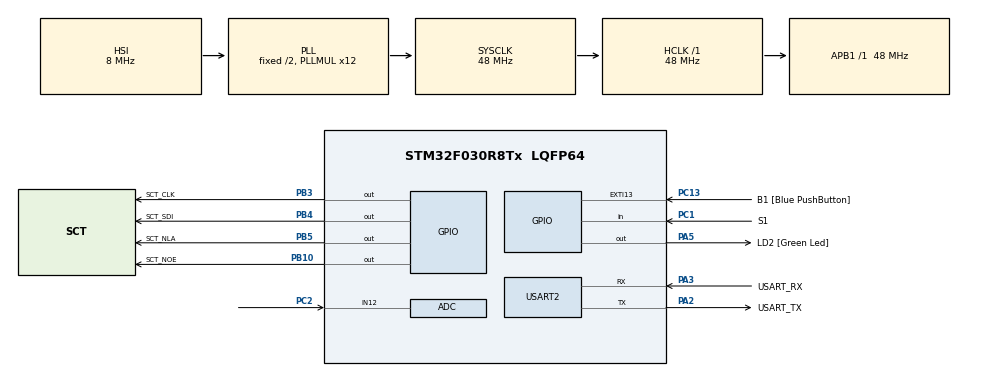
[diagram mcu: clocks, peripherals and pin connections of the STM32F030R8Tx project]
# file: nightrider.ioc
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ADC.ContinuousConvMode=DISABLE
Mcu.Family=STM32F0
Mcu.Name=STM32F030R8Tx
Mcu.Package=LQFP64
PA13.GPIO_Label=TMS
PA13.Mode=Serial_Wire
PA13.Signal=SYS_SWDIO
PA14.GPIO_Label=TCK
PA14.Mode=Serial_Wire
PA14.Signal=SYS_SWCLK
PA2.GPIO_Label=USART_TX
PA2.GPIO_Mode=GPIO_MODE_AF_PP
PA2.GPIO_PuPd=GPIO_NOPULL
PA2.GPIO_Speed=GPIO_SPEED_FREQ_LOW
PA2.Mode=Asynchronous
PA2.Signal=USART2_TX
PA3.GPIO_Label=USART_RX
PA3.GPIO_Mode=GPIO_MODE_AF_PP
PA3.GPIO_PuPd=GPIO_NOPULL
PA3.GPIO_Speed=GPIO_SPEED_FREQ_LOW
PA3.Mode=Asynchronous
PA3.Signal=USART2_RX
PA5.GPIO_Label=LD2 [Green Led]
PA5.GPIO_Mode=GPIO_MODE_OUTPUT_PP
PA5.GPIO_PuPd=GPIO_NOPULL
PA5.GPIO_Speed=GPIO_SPEED_FREQ_LOW
PA5.Signal=GPIO_Output
PB10.GPIO_Label=SCT_NOE
PB10.Signal=GPIO_Output
PB3.GPIO_Label=SCT_CLK
PB3.Signal=GPIO_Output
PB4.GPIO_Label=SCT_SDI
PB4.Signal=GPIO_Output
PB5.GPIO_Label=SCT_NLA
PB5.Signal=GPIO_Output
PC1.GPIO_Label=S1
PC1.GPIO_PuPd=GPIO_PULLUP
PC1.Signal=GPIO_Input
PC13.GPIO_Label=B1 [Blue PushButton]
PC13.GPIO_ModeDefaultEXTI=GPIO_MODE_IT_FALLING
PC13.Signal=GPXTI13
PC14-OSC32_IN.Mode=LSE-External-Oscillator
PC14-OSC32_IN.Signal=RCC_OSC32_IN
PC15-OSC32_OUT.Mode=LSE-External-Oscillator
PC15-OSC32_OUT.Signal=RCC_OSC32_OUT
PC2.Mode=IN12
PC2.Signal=ADC_IN12
PF0-OSC_IN.Mode=HSE-External-Clock-Source
PF0-OSC_IN.Signal=RCC_OSC_IN
PF1-OSC_OUT.Signal=RCC_OSC_OUT
ProjectManager.HeapSize=0x200
ProjectManager.StackSize=0x400
ProjectManager.TargetToolchain=STM32CubeIDE
RCC.AHBFreq_Value=48000000
RCC.APB1Freq_Value=48000000
RCC.APB1TimFreq_Value=48000000
RCC.HCLKFreq_Value=48000000
RCC.PLLMUL=RCC_PLL_MUL12
RCC.SYSCLKFreq_VALUE=48000000
RCC.SYSCLKSource=RCC_SYSCLKSOURCE_PLLCLK
USART2.VirtualMode-Asynchronous=VM_ASYNC
board=NUCLEO-F030R8

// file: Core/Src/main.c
/* USER CODE BEGIN Header */
/**
 ******************************************************************************
 * @file           : main.c
 * @brief          : Main program body
 ******************************************************************************
 * @attention
 *
 * Copyright (c) 2024 STMicroelectronics.
 * All rights reserved.
 *
 * This software is licensed under terms that can be found in the LICENSE file
 * in the root directory of this software component.
 * If no LICENSE file comes with this software, it is provided AS-IS.
 *
 ******************************************************************************
 */
/* USER CODE END Header */
#include "main.h"

/* USER CODE BEGIN Includes */
#include "sct.h"
#include <stdlib.h>
/* USER CODE END Includes */

/* USER CODE BEGIN PD */
#define delayXD 200
/* USER CODE END PD */

ADC_HandleTypeDef hadc;

UART_HandleTypeDef huart2;

void SystemClock_Config(void);
static void MX_GPIO_Init(void);
static void MX_USART2_UART_Init(void);
static void MX_ADC_Init(void);
/* USER CODE BEGIN PFP */
int rand_1_to_6(void){
	return((rand() % 6)+1);
}
int Roll_Dice(void){
	int dice1 = rand_1_to_6();
	int dice2 = rand_1_to_6();
	int dice3 = rand_1_to_6();

	return(dice1*100 + dice2 * 20 + dice3);
}
/* USER CODE END PFP */

int main(void)
{

	/* MCU Configuration--------------------------------------------------------*/

	/* Reset of all peripherals, Initializes the Flash interface and the Systick. */
	HAL_Init();

	/* Configure the system clock */
	SystemClock_Config();

	/* Initialize all configured peripherals */
	MX_GPIO_Init();
	MX_USART2_UART_Init();
	MX_ADC_Init();
	/* USER CODE BEGIN 2 */
	sct_init();
	sct_value(404, 4);
	HAL_ADCEx_Calibration_Start(&hadc);
	uint16_t adc_value;
	HAL_ADC_Start(&hadc);
	adc_value = HAL_ADC_GetValue(&hadc);
	srand(adc_value);

	/* USER CODE END 2 */

	/* Infinite loop */
	/* USER CODE BEGIN WHILE */
	while (1)
	{
		uint8_t buttPressed  = 0;
		uint16_t randNum;
		uint16_t delayVal = 20;
		while(buttPressed == 0){

			randNum = Roll_Dice();
			HAL_Delay(20);
			sct_value(randNum,0);
			if(HAL_GPIO_ReadPin(S1_GPIO_Port, S1_Pin)==0){
				buttPressed = 1;
			}
		}
		for (uint16_t i = 0;i < 20;i++){
			randNum = Roll_Dice();
			HAL_Delay(delayVal);
			delayVal +=20;
			sct_value(randNum,0);

		}
		sct_value(randNum,0);
		sct_uni_bar(255);
		HAL_Delay(200);
		sct_value(randNum,0);
		sct_uni_bar(0);
		HAL_Delay(200);
		sct_value(randNum,0);
		sct_uni_bar(255);
		HAL_Delay(200);
		sct_value(randNum,0);
		sct_uni_bar(0);
		HAL_Delay(200);
		sct_value(randNum,0);

		HAL_Delay(5000);
		//		uint8_t ledBinIndex = 0b11;
		//		for (uint8_t i = 1;i<=6;i++){
		//
		//			sct_uni_bar(ledBinIndex);
		//			HAL_Delay(delayXD);
		//			ledBinIndex <<= 1;
		//		}
		//		for (uint8_t i = 1;i<=6;i++){
		//
		//			sct_uni_bar(ledBinIndex);
		//			HAL_Delay(delayXD);
		//			ledBinIndex >>= 1;
		//		}

		//		sct_uni_bar(20);
		//		HAL_Delay(delayXD);
		//		sct_uni_bar(32);
		//		HAL_Delay(delayXD);

		/* USER CODE END WHILE */

	}
}

void SystemClock_Config(void)
{
	RCC_OscInitTypeDef RCC_OscInitStruct = {0};
	RCC_ClkInitTypeDef RCC_ClkInitStruct = {0};

	/** Initializes the RCC Oscillators according to the specified parameters
	 * in the RCC_OscInitTypeDef structure.
	 */
	RCC_OscInitStruct.OscillatorType = RCC_OSCILLATORTYPE_HSI|RCC_OSCILLATORTYPE_HSI14;
	RCC_OscInitStruct.HSIState = RCC_HSI_ON;
	RCC_OscInitStruct.HSI14State = RCC_HSI14_ON;
	RCC_OscInitStruct.HSICalibrationValue = RCC_HSICALIBRATION_DEFAULT;
	RCC_OscInitStruct.HSI14CalibrationValue = 16;
	RCC_OscInitStruct.PLL.PLLState = RCC_PLL_ON;
	RCC_OscInitStruct.PLL.PLLSource = RCC_PLLSOURCE_HSI;
	RCC_OscInitStruct.PLL.PLLMUL = RCC_PLL_MUL12;
	RCC_OscInitStruct.PLL.PREDIV = RCC_PREDIV_DIV1;
	if (HAL_RCC_OscConfig(&RCC_OscInitStruct) != HAL_OK)
	{
		Error_Handler();
	}

	/** Initializes the CPU, AHB and APB buses clocks
	 */
	RCC_ClkInitStruct.ClockType = RCC_CLOCKTYPE_HCLK|RCC_CLOCKTYPE_SYSCLK
			|RCC_CLOCKTYPE_PCLK1;
	RCC_ClkInitStruct.SYSCLKSource = RCC_SYSCLKSOURCE_PLLCLK;
	RCC_ClkInitStruct.AHBCLKDivider = RCC_SYSCLK_DIV1;
	RCC_ClkInitStruct.APB1CLKDivider = RCC_HCLK_DIV1;

	if (HAL_RCC_ClockConfig(&RCC_ClkInitStruct, FLASH_LATENCY_1) != HAL_OK)
	{
		Error_Handler();
	}
}

static void MX_ADC_Init(void)
{

	ADC_ChannelConfTypeDef sConfig = {0};

	/** Configure the global features of the ADC (Clock, Resolution, Data Alignment and number of conversion)
	 */
	hadc.Instance = ADC1;
	hadc.Init.ClockPrescaler = ADC_CLOCK_ASYNC_DIV1;
	hadc.Init.Resolution = ADC_RESOLUTION_12B;
	hadc.Init.DataAlign = ADC_DATAALIGN_RIGHT;
	hadc.Init.ScanConvMode = ADC_SCAN_DIRECTION_FORWARD;
	hadc.Init.EOCSelection = ADC_EOC_SINGLE_CONV;
	hadc.Init.LowPowerAutoWait = DISABLE;
	hadc.Init.LowPowerAutoPowerOff = DISABLE;
	hadc.Init.ContinuousConvMode = DISABLE;
	hadc.Init.DiscontinuousConvMode = DISABLE;
	hadc.Init.ExternalTrigConv = ADC_SOFTWARE_START;
	hadc.Init.ExternalTrigConvEdge = ADC_EXTERNALTRIGCONVEDGE_NONE;
	hadc.Init.DMAContinuousRequests = DISABLE;
	hadc.Init.Overrun = ADC_OVR_DATA_PRESERVED;
	if (HAL_ADC_Init(&hadc) != HAL_OK)
	{
		Error_Handler();
	}

	/** Configure for the selected ADC regular channel to be converted.
	 */
	sConfig.Channel = ADC_CHANNEL_12;
	sConfig.Rank = ADC_RANK_CHANNEL_NUMBER;
	sConfig.SamplingTime = ADC_SAMPLETIME_1CYCLE_5;
	if (HAL_ADC_ConfigChannel(&hadc, &sConfig) != HAL_OK)
	{
		Error_Handler();
	}

}

static void MX_USART2_UART_Init(void)
{

	huart2.Instance = USART2;
	huart2.Init.BaudRate = 38400;
	huart2.Init.WordLength = UART_WORDLENGTH_8B;
	huart2.Init.StopBits = UART_STOPBITS_1;
	huart2.Init.Parity = UART_PARITY_NONE;
	huart2.Init.Mode = UART_MODE_TX_RX;
	huart2.Init.HwFlowCtl = UART_HWCONTROL_NONE;
	huart2.Init.OverSampling = UART_OVERSAMPLING_16;
	huart2.Init.OneBitSampling = UART_ONE_BIT_SAMPLE_DISABLE;
	huart2.AdvancedInit.AdvFeatureInit = UART_ADVFEATURE_NO_INIT;
	if (HAL_UART_Init(&huart2) != HAL_OK)
	{
		Error_Handler();
	}

}

static void MX_GPIO_Init(void)
{
	GPIO_InitTypeDef GPIO_InitStruct = {0};

	/* GPIO Ports Clock Enable */
	__HAL_RCC_GPIOC_CLK_ENABLE();
	__HAL_RCC_GPIOF_CLK_ENABLE();
	__HAL_RCC_GPIOA_CLK_ENABLE();
	__HAL_RCC_GPIOB_CLK_ENABLE();

	/*Configure GPIO pin Output Level */
	HAL_GPIO_WritePin(LD2_GPIO_Port, LD2_Pin, GPIO_PIN_RESET);

	/*Configure GPIO pin Output Level */
	HAL_GPIO_WritePin(GPIOB, SCT_NOE_Pin|SCT_CLK_Pin|SCT_SDI_Pin|SCT_NLA_Pin, GPIO_PIN_RESET);

	/*Configure GPIO pin : B1_Pin */
	GPIO_InitStruct.Pin = B1_Pin;
	GPIO_InitStruct.Mode = GPIO_MODE_IT_FALLING;
	GPIO_InitStruct.Pull = GPIO_NOPULL;
	HAL_GPIO_Init(B1_GPIO_Port, &GPIO_InitStruct);

	/*Configure GPIO pin : S1_Pin */
	GPIO_InitStruct.Pin = S1_Pin;
	GPIO_InitStruct.Mode = GPIO_MODE_INPUT;
	GPIO_InitStruct.Pull = GPIO_PULLUP;
	HAL_GPIO_Init(S1_GPIO_Port, &GPIO_InitStruct);

	/*Configure GPIO pin : LD2_Pin */
	GPIO_InitStruct.Pin = LD2_Pin;
	GPIO_InitStruct.Mode = GPIO_MODE_OUTPUT_PP;
	GPIO_InitStruct.Pull = GPIO_NOPULL;
	GPIO_InitStruct.Speed = GPIO_SPEED_FREQ_LOW;
	HAL_GPIO_Init(LD2_GPIO_Port, &GPIO_InitStruct);

	/*Configure GPIO pins : SCT_NOE_Pin SCT_CLK_Pin SCT_SDI_Pin SCT_NLA_Pin */
	GPIO_InitStruct.Pin = SCT_NOE_Pin|SCT_CLK_Pin|SCT_SDI_Pin|SCT_NLA_Pin;
	GPIO_InitStruct.Mode = GPIO_MODE_OUTPUT_PP;
	GPIO_InitStruct.Pull = GPIO_NOPULL;
	GPIO_InitStruct.Speed = GPIO_SPEED_FREQ_LOW;
	HAL_GPIO_Init(GPIOB, &GPIO_InitStruct);

}

void Error_Handler(void)
{
	__disable_irq();
	while (1)
	{
	}
}
